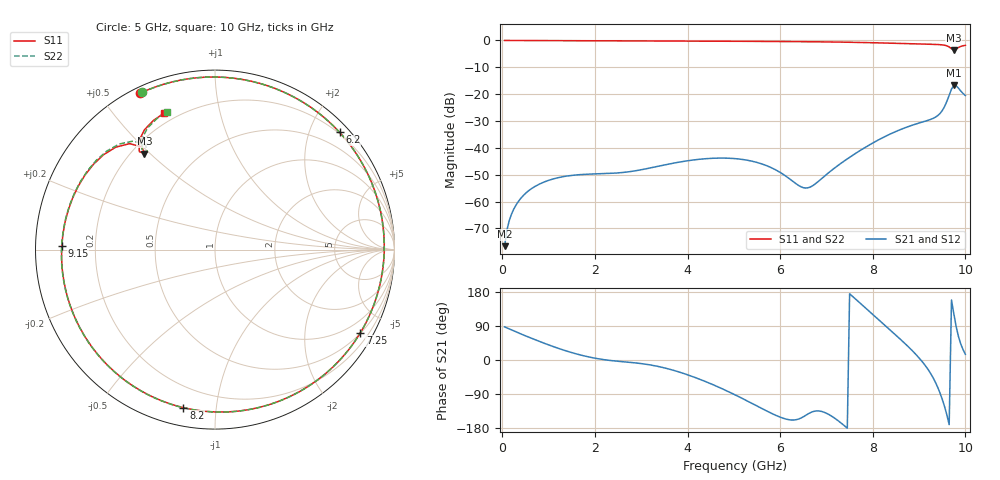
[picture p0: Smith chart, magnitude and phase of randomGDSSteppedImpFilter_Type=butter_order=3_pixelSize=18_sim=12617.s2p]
! freq	dB(S11)	phase(S11)	dB(S12)	phase(S12)
!  dB(S21)	phase(S21)	dB(S22)	phase(S22)
!S-par simulation data
#  GHz  S  DB  R 50
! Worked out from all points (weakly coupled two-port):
!   200 points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, 50 MHz to 10 GHz, reference 50 ohm
!   highest |S21| = -16.75 dB at 9.75 GHz (marker M1); lowest = -76.6 dB at 50 MHz (marker M2)
!   lowest |S11| = -3.6 dB at 9.75 GHz (marker M3), VSWR 4.94, Z = 12.6 + j24 ohm
!   |S11| at or under -10 dB: nowhere
!   |S22| runs from -3.6 to 0.0 dB; largest |S21 - S12| = 0
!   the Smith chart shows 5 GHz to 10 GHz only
!   S11 on the Smith chart (normalised r, x): 5 GHz: 0.02, +0.63; 6.2 GHz: 0.17, +2.51; 7.25 GHz: 0.51, -3.69; 8.2 GHz: 0.09, -0.82; 9.15 GHz: 0.08, +0.01; 10 GHz: 0.15, +0.68
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0.05  -0.00 -2.7  -76.63 87.3  -76.63 87.3  -0.00 -2.7
0.2  -0.02 -10.6  -64.65 79.4  -64.65 79.4  -0.02 -10.6
0.5  -0.04 -26.3  -56.98 63.8  -56.98 63.8  -0.04 -26.3
1.15  -0.07 -59.5  -51.35 33.3  -51.35 33.3  -0.07 -59.5
1.75  -0.11 -88.9  -49.90 11.3  -49.90 11.3  -0.11 -89.0
2.5  -0.15 -124.0  -49.34 -3.4  -49.34 -3.4  -0.15 -124.1
3.4  -0.19 -165.1  -46.74 -17.9  -46.74 -17.9  -0.19 -165.4
4.2  -0.24 157.1  -44.36 -47.9  -44.36 -47.9  -0.24 156.6
5  -0.30 115.7  -43.98 -90.4  -43.98 -90.4  -0.30 115.0
5.05  -0.30 113.0  -44.05 -93.4  -44.05 -93.4  -0.31 112.2
5.65  -0.36 78.2  -46.26 -130.9  -46.26 -130.9  -0.36 77.1
6.2  -0.41 43.3  -51.50 -157.8  -51.50 -157.8  -0.42 41.9
6.7  -0.48 9.4  -54.14 -136.5  -54.14 -136.5  -0.49 7.7
7.25  -0.60 -29.8  -46.55 -160.0  -46.55 -160.0  -0.61 -31.6
7.75  -0.75 -66.7  -40.75 147.5  -40.75 147.5  -0.76 -68.7
8.2  -0.93 -101.3  -36.34 98.1  -36.34 98.1  -0.94 -103.3
8.35  -1.00 -113.2  -35.07 81.8  -35.07 81.8  -1.01 -115.2
8.8  -1.21 -150.4  -31.88 31.1  -31.88 31.1  -1.21 -152.4
9.15  -1.37 178.8  -29.97 -17.4  -29.97 -17.4  -1.37 176.8
9.5  -1.64 145.0  -26.13 -103.5  -26.13 -103.5  -1.64 143.1
9.75  -3.57 126.4  -16.75 122.5  -16.75 122.5  -3.61 124.7
10  -1.82 110.6  -20.54 15.0  -20.54 15.0  -1.81 109.2
